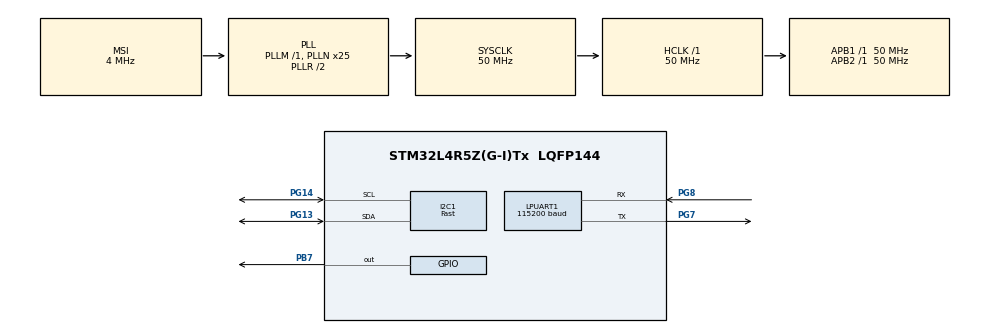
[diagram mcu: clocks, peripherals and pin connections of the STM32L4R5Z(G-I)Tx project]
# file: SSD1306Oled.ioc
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I2C1.I2C_Speed_Mode=I2C_Fast
I2C1.Timing=0x00401959
LPUART1.BaudRate=115200
LPUART1.WordLength=UART_WORDLENGTH_8B
Mcu.Family=STM32L4
Mcu.Name=STM32L4R5Z(G-I)Tx
Mcu.Package=LQFP144
NVIC.I2C1_EV_IRQn=true\:0\:0\:false\:false\:true\:true
NVIC.LPUART1_IRQn=true\:1\:0\:true\:true\:true\:1\:true
NVIC.PriorityGroup=NVIC_PRIORITYGROUP_4
PB7.Signal=GPIO_Output
PG13.Mode=I2C
PG13.Signal=I2C1_SDA
PG14.Mode=I2C
PG14.Signal=I2C1_SCL
PG7.Mode=Asynchronous
PG7.Signal=LPUART1_TX
PG8.Mode=Asynchronous
PG8.Signal=LPUART1_RX
ProjectManager.HeapSize=0x200
ProjectManager.StackSize=0x400
ProjectManager.TargetToolchain=MDK-ARM V5
RCC.ADCFreq_Value=16000000
RCC.AHBFreq_Value=50000000
RCC.APB1Freq_Value=50000000
RCC.APB1TimFreq_Value=50000000
RCC.APB2Freq_Value=50000000
RCC.APB2TimFreq_Value=50000000
RCC.CortexFreq_Value=50000000
RCC.HCLKFreq_Value=50000000
RCC.HSE_VALUE=8000000
RCC.HSI48_VALUE=48000000
RCC.HSI_VALUE=16000000
RCC.LSE_VALUE=32768
RCC.MSI_VALUE=4000000
RCC.PLLN=25
RCC.SYSCLKFreq_VALUE=50000000
RCC.SYSCLKSource=RCC_SYSCLKSOURCE_PLLCLK
RCC.USBFreq_Value=16000000
RCC.VCOOutputFreq_Value=100000000
board=custom

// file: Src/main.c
/**
  ******************************************************************************
  * @file           : main.c
  * @brief          : Main program body
  ******************************************************************************
  * This notice applies to any and all portions of this file
  * that are not between comment pairs USER CODE BEGIN and
  * USER CODE END. Other portions of this file, whether
  * inserted by the user or by software development tools
  * are owned by their respective copyright owners.
  *
  * Copyright (c) 2018 STMicroelectronics International N.V.
  * All rights reserved.
  *
  * Redistribution and use in source and binary forms, with or without
  * modification, are permitted, provided that the following conditions are met:
  *
  * 1. Redistribution of source code must retain the above copyright notice,
  *    this list of conditions and the following disclaimer.
  * 2. Redistributions in binary form must reproduce the above copyright notice,
  *    this list of conditions and the following disclaimer in the documentation
  *    and/or other materials provided with the distribution.
  * 3. Neither the name of STMicroelectronics nor the names of other
  *    contributors to this software may be used to endorse or promote products
  *    derived from this software without specific written permission.
  * 4. This software, including modifications and/or derivative works of this
  *    software, must execute solely and exclusively on microcontroller or
  *    microprocessor devices manufactured by or for STMicroelectronics.
  * 5. Redistribution and use of this software other than as permitted under
  *    this license is void and will automatically terminate your rights under
  *    this license.
  *
  * THIS SOFTWARE IS PROVIDED BY STMICROELECTRONICS AND CONTRIBUTORS "AS IS"
  * AND ANY EXPRESS, IMPLIED OR STATUTORY WARRANTIES, INCLUDING, BUT NOT
  * LIMITED TO, THE IMPLIED WARRANTIES OF MERCHANTABILITY, FITNESS FOR A
  * PARTICULAR PURPOSE AND NON-INFRINGEMENT OF THIRD PARTY INTELLECTUAL PROPERTY
  * RIGHTS ARE DISCLAIMED TO THE FULLEST EXTENT PERMITTED BY LAW. IN NO EVENT
  * SHALL STMICROELECTRONICS OR CONTRIBUTORS BE LIABLE FOR ANY DIRECT, INDIRECT,
  * INCIDENTAL, SPECIAL, EXEMPLARY, OR CONSEQUENTIAL DAMAGES (INCLUDING, BUT NOT
  * LIMITED TO, PROCUREMENT OF SUBSTITUTE GOODS OR SERVICES; LOSS OF USE, DATA,
  * OR PROFITS; OR BUSINESS INTERRUPTION) HOWEVER CAUSED AND ON ANY THEORY OF
  * LIABILITY, WHETHER IN CONTRACT, STRICT LIABILITY, OR TORT (INCLUDING
  * NEGLIGENCE OR OTHERWISE) ARISING IN ANY WAY OUT OF THE USE OF THIS SOFTWARE,
  * EVEN IF ADVISED OF THE POSSIBILITY OF SUCH DAMAGE.
  *
  ******************************************************************************
  */
#include "include.h"

I2C_HandleTypeDef hi2c1;

UART_HandleTypeDef hlpuart1;

osThreadId UnitSecondScrollTaskHandle;
osThreadId DecSecondScrollTaskHandle;
osThreadId UnitMinuteScrollTaskHandle;
osThreadId DecMinuteScrollTaskHandle;

uint8_t data_receive[256];
bool get_data_stat = false;

extern font_t			m_font;
extern ssd1306_t	m_ssd1306;
SemaphoreHandle_t semaphore_i2c;
uint8_t sec = 0;
uint8_t min = 0;
uint8_t hour = 0;
/* USER CODE BEGIN PV */

int fputc(int ch, FILE *f)
{
  /* Place your implementation of fputc here */
  /* e.g. write a character to the USART1 and Loop until the end of transmission */
  HAL_UART_Transmit(&hlpuart1, (uint8_t *)&ch, 1, 0xFFFF);

  return ch;
}

/* Private variables ---------------------------------------------------------*/

/* USER CODE END PV */

void SystemClock_Config(void);
static void MX_GPIO_Init(void);
static void MX_I2C1_Init(void);
static void MX_LPUART1_UART_Init(void);
void UnitSecondScrollTask(void const * argument);
void DecSecondScrollTask(void const * argument);
void UnitMinuteScrollTask(void const * argument);
void DecMinuteScrollTask(void const * argument);
static void MX_NVIC_Init(void);

/* USER CODE BEGIN PFP */
/* Private function prototypes -----------------------------------------------*/

/* USER CODE END PFP */

int main(void)
{

  /* MCU Configuration----------------------------------------------------------*/

  /* Reset of all peripherals, Initializes the Flash interface and the Systick. */
  HAL_Init();

  /* Configure the system clock */
  SystemClock_Config();

  /* Initialize all configured peripherals */
  MX_GPIO_Init();
  MX_I2C1_Init();
  MX_LPUART1_UART_Init();

  /* Initialize interrupts */
  MX_NVIC_Init();
  /* USER CODE BEGIN 2 */

	// Enable UART RX Interrupt Flag
	__HAL_UART_ENABLE_IT(&hlpuart1, UART_IT_RXNE);
  /* USER CODE END 2 */
	font_init(&m_font);
	// Init SSD1306 OLED
	ssd1306_init(&m_ssd1306);

	m_ssd1306.api.display_number(&m_ssd1306, FONT_19x24, hour/10, 3, 	24);
	m_ssd1306.api.display_number(&m_ssd1306, FONT_19x24, hour%10, 25, 24);
	m_ssd1306.api.display_number(&m_ssd1306, FONT_7x24,  0, 47, 24);
	m_ssd1306.api.display_number(&m_ssd1306, FONT_19x24, min/10, 57, 24);
	m_ssd1306.api.display_number(&m_ssd1306, FONT_19x24, min%10, 79, 24);
	m_ssd1306.api.display_number(&m_ssd1306, FONT_11x16, sec/10, 101, 32);
	m_ssd1306.api.display_number(&m_ssd1306, FONT_11x16, sec%10, 115, 32);

  /* Create the thread(s) */
  /* definition and creation of defaultTask */
  osThreadDef(UnitSecondScrollTask, UnitSecondScrollTask, osPriorityNormal, 0, 128);
  UnitSecondScrollTaskHandle = osThreadCreate(osThread(UnitSecondScrollTask), NULL);

  /* Start scheduler */
  osKernelStart();

  /* We should never get here as control is now taken by the scheduler */

  /* Infinite loop */
  while (1)
  {

  }

}

void SystemClock_Config(void)
{

  RCC_OscInitTypeDef RCC_OscInitStruct;
  RCC_ClkInitTypeDef RCC_ClkInitStruct;
  RCC_PeriphCLKInitTypeDef PeriphClkInit;

    /**Configure the main internal regulator output voltage
    */
  if (HAL_PWREx_ControlVoltageScaling(PWR_REGULATOR_VOLTAGE_SCALE1) != HAL_OK)
  {
    _Error_Handler(__FILE__, __LINE__);
  }

    /**Initializes the CPU, AHB and APB busses clocks
    */
  RCC_OscInitStruct.OscillatorType = RCC_OSCILLATORTYPE_MSI;
  RCC_OscInitStruct.MSIState = RCC_MSI_ON;
  RCC_OscInitStruct.MSICalibrationValue = 0;
  RCC_OscInitStruct.MSIClockRange = RCC_MSIRANGE_6;
  RCC_OscInitStruct.PLL.PLLState = RCC_PLL_ON;
  RCC_OscInitStruct.PLL.PLLSource = RCC_PLLSOURCE_MSI;
  RCC_OscInitStruct.PLL.PLLM = 1;
  RCC_OscInitStruct.PLL.PLLN = 25;
  RCC_OscInitStruct.PLL.PLLP = RCC_PLLP_DIV2;
  RCC_OscInitStruct.PLL.PLLQ = RCC_PLLQ_DIV2;
  RCC_OscInitStruct.PLL.PLLR = RCC_PLLR_DIV2;
  if (HAL_RCC_OscConfig(&RCC_OscInitStruct) != HAL_OK)
  {
    _Error_Handler(__FILE__, __LINE__);
  }

    /**Initializes the CPU, AHB and APB busses clocks
    */
  RCC_ClkInitStruct.ClockType = RCC_CLOCKTYPE_HCLK|RCC_CLOCKTYPE_SYSCLK
                              |RCC_CLOCKTYPE_PCLK1|RCC_CLOCKTYPE_PCLK2;
  RCC_ClkInitStruct.SYSCLKSource = RCC_SYSCLKSOURCE_PLLCLK;
  RCC_ClkInitStruct.AHBCLKDivider = RCC_SYSCLK_DIV1;
  RCC_ClkInitStruct.APB1CLKDivider = RCC_HCLK_DIV1;
  RCC_ClkInitStruct.APB2CLKDivider = RCC_HCLK_DIV1;

  if (HAL_RCC_ClockConfig(&RCC_ClkInitStruct, FLASH_LATENCY_2) != HAL_OK)
  {
    _Error_Handler(__FILE__, __LINE__);
  }

  PeriphClkInit.PeriphClockSelection = RCC_PERIPHCLK_LPUART1|RCC_PERIPHCLK_I2C1;
  PeriphClkInit.Lpuart1ClockSelection = RCC_LPUART1CLKSOURCE_PCLK1;
  PeriphClkInit.I2c1ClockSelection = RCC_I2C1CLKSOURCE_PCLK1;
  if (HAL_RCCEx_PeriphCLKConfig(&PeriphClkInit) != HAL_OK)
  {
    _Error_Handler(__FILE__, __LINE__);
  }

    /**Configure the Systick interrupt time
    */
  HAL_SYSTICK_Config(HAL_RCC_GetHCLKFreq()/1000);

    /**Configure the Systick
    */
  HAL_SYSTICK_CLKSourceConfig(SYSTICK_CLKSOURCE_HCLK);

  /* SysTick_IRQn interrupt configuration */
  HAL_NVIC_SetPriority(SysTick_IRQn, 15, 0);
}

/**
  * @brief NVIC Configuration.
  * @retval None
  */
static void MX_NVIC_Init(void)
{
  /* LPUART1_IRQn interrupt configuration */
  HAL_NVIC_SetPriority(LPUART1_IRQn, 5, 0);
  HAL_NVIC_EnableIRQ(LPUART1_IRQn);
}

/* I2C1 init function */
static void MX_I2C1_Init(void)
{

  hi2c1.Instance = I2C1;
  hi2c1.Init.Timing = 0x00401959;
  hi2c1.Init.OwnAddress1 = 0;
  hi2c1.Init.AddressingMode = I2C_ADDRESSINGMODE_7BIT;
  hi2c1.Init.DualAddressMode = I2C_DUALADDRESS_DISABLE;
  hi2c1.Init.OwnAddress2 = 0;
  hi2c1.Init.OwnAddress2Masks = I2C_OA2_NOMASK;
  hi2c1.Init.GeneralCallMode = I2C_GENERALCALL_DISABLE;
  hi2c1.Init.NoStretchMode = I2C_NOSTRETCH_DISABLE;
  if (HAL_I2C_Init(&hi2c1) != HAL_OK)
  {
    _Error_Handler(__FILE__, __LINE__);
  }

    /**Configure Analogue filter
    */
  if (HAL_I2CEx_ConfigAnalogFilter(&hi2c1, I2C_ANALOGFILTER_ENABLE) != HAL_OK)
  {
    _Error_Handler(__FILE__, __LINE__);
  }

    /**Configure Digital filter
    */
  if (HAL_I2CEx_ConfigDigitalFilter(&hi2c1, 0) != HAL_OK)
  {
    _Error_Handler(__FILE__, __LINE__);
  }

}

/* LPUART1 init function */
static void MX_LPUART1_UART_Init(void)
{

  hlpuart1.Instance = LPUART1;
  hlpuart1.Init.BaudRate = 115200;
  hlpuart1.Init.WordLength = UART_WORDLENGTH_8B;
  hlpuart1.Init.StopBits = UART_STOPBITS_1;
  hlpuart1.Init.Parity = UART_PARITY_NONE;
  hlpuart1.Init.Mode = UART_MODE_TX_RX;
  hlpuart1.Init.HwFlowCtl = UART_HWCONTROL_NONE;
  hlpuart1.Init.OneBitSampling = UART_ONE_BIT_SAMPLE_DISABLE;
  hlpuart1.Init.ClockPrescaler = UART_PRESCALER_DIV1;
  hlpuart1.AdvancedInit.AdvFeatureInit = UART_ADVFEATURE_NO_INIT;
  hlpuart1.FifoMode = UART_FIFOMODE_DISABLE;
  if (HAL_UART_Init(&hlpuart1) != HAL_OK)
  {
    _Error_Handler(__FILE__, __LINE__);
  }

  if (HAL_UARTEx_SetTxFifoThreshold(&hlpuart1, UART_TXFIFO_THRESHOLD_1_8) != HAL_OK)
  {
    _Error_Handler(__FILE__, __LINE__);
  }

  if (HAL_UARTEx_SetRxFifoThreshold(&hlpuart1, UART_RXFIFO_THRESHOLD_1_8) != HAL_OK)
  {
    _Error_Handler(__FILE__, __LINE__);
  }

}

/** Configure pins as
        * Analog
        * Input
        * Output
        * EVENT_OUT
        * EXTI
*/
static void MX_GPIO_Init(void)
{

  GPIO_InitTypeDef GPIO_InitStruct;

  /* GPIO Ports Clock Enable */
  __HAL_RCC_GPIOG_CLK_ENABLE();
  HAL_PWREx_EnableVddIO2();
  __HAL_RCC_GPIOB_CLK_ENABLE();

  /*Configure GPIO pin Output Level */
  HAL_GPIO_WritePin(GPIOB, GPIO_PIN_7, GPIO_PIN_RESET);

  /*Configure GPIO pin : PB7 */
  GPIO_InitStruct.Pin = GPIO_PIN_7;
  GPIO_InitStruct.Mode = GPIO_MODE_OUTPUT_PP;
  GPIO_InitStruct.Pull = GPIO_NOPULL;
  GPIO_InitStruct.Speed = GPIO_SPEED_FREQ_LOW;
  HAL_GPIO_Init(GPIOB, &GPIO_InitStruct);

}

/* StartDefaultTask function */
void UnitSecondScrollTask(void const * argument)
{
  /* USER CODE BEGIN 5 */
  /* Infinite loop */
  for(;;)
  {
		if(sec++ == 59)
		{
			sec = 0;
			if(min++ == 59)
			{
				min = 0;
				if(hour++ == 23)
				{
					hour = 0;
				}
				m_ssd1306.param.scroll_num[SCROLL_HOUR_UNIT].num = hour%10;
				m_ssd1306.param.scroll_num[SCROLL_HOUR_UNIT].scroll = SCROLL;
				if(hour%10 == 0)
				{
					m_ssd1306.param.scroll_num[SCROLL_HOUR_DEC].num = hour/10;
					m_ssd1306.param.scroll_num[SCROLL_HOUR_DEC].scroll = SCROLL;
				}
			}
			m_ssd1306.param.scroll_num[SCROLL_MIN_UNIT].num = min%10;
			m_ssd1306.param.scroll_num[SCROLL_MIN_UNIT].scroll = SCROLL;
			if(min%10 == 0)
			{
				m_ssd1306.param.scroll_num[SCROLL_MIN_DEC].num = min/10;
				m_ssd1306.param.scroll_num[SCROLL_MIN_DEC].scroll = SCROLL;
			}
		}
		m_ssd1306.param.scroll_num[SCROLL_SEC_UNIT].num = sec%10;
		m_ssd1306.param.scroll_num[SCROLL_SEC_UNIT].scroll = SCROLL;
		if(sec%10 == 0)
		{
			m_ssd1306.param.scroll_num[SCROLL_SEC_DEC].num = sec/10;
			m_ssd1306.param.scroll_num[SCROLL_SEC_DEC].scroll = SCROLL;
		}

		m_ssd1306.api.scroll_number_all(&m_ssd1306);
		osDelay(500);
  }
  /* USER CODE END 5 */
}

void _Error_Handler(char *file, int line)
{
  /* USER CODE BEGIN Error_Handler_Debug */
  /* User can add his own implementation to report the HAL error return state */
	printf("Error at File: %s and Line: %d\r\n", file, line);
  /* USER CODE END Error_Handler_Debug */
}

/************************ (C) COPYRIGHT STMicroelectronics *****END OF FILE****/
